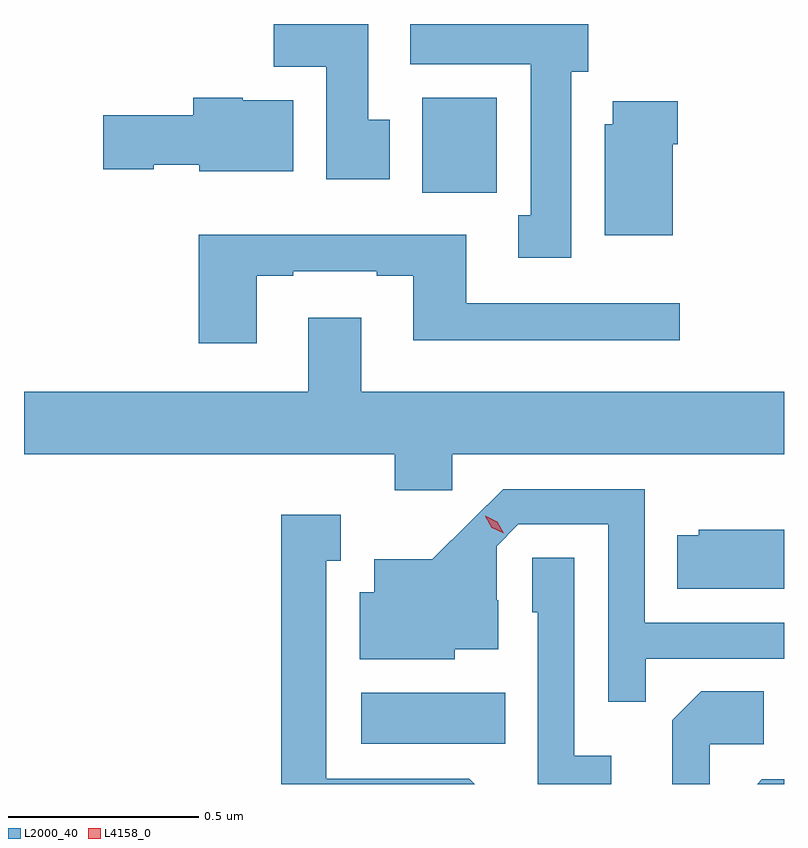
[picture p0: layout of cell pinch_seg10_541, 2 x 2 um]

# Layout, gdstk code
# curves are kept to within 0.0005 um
import gdstk
lib = gdstk.Library(unit=1e-6, precision=1e-09)
def R(c, l, rs):  # rectangles x0, y0, x1, y1
    for r in rs: c.add(gdstk.rectangle(r[:2], r[2:], *l))
def P(c, l, *ps):  # polygons
    for p in ps: c.add(gdstk.Polygon(p, *l))
L2000_40 = (2000, 40)
L4158_0 = (4158, 0)

pinch_seg10_541 = lib.new_cell('pinch_seg10_541')
R(pinch_seg10_541, L2000_40, [(215.076,1251.602,215.456,1251.736), (215.237,1253.052,215.433,1253.302)])
P(pinch_seg10_541, L2000_40, [(215.629,1253.37),(215.674,1253.37),(215.674,1253.496),(215.205,1253.496),(215.205,1253.39),(215.522,1253.39),(215.522,1252.993),(215.489,1252.993),(215.489,1252.881),(215.629,1252.881)],
  [(215.152,1253.244),(215.095,1253.244),(215.095,1253.496),(214.846,1253.496),(214.846,1253.384),(214.985,1253.384),(214.985,1253.088),(215.152,1253.088)],
  [(214.897,1253.296),(214.764,1253.296),(214.764,1253.302),(214.634,1253.302),(214.634,1253.256),(214.398,1253.256),(214.398,1253.114),(214.53,1253.114),(214.53,1253.126),(214.65,1253.126),(214.65,1253.108),(214.897,1253.108)],
  [(215.896,1253.18),(215.909,1253.18),(215.909,1253.293),(215.738,1253.293),(215.738,1253.232),(215.717,1253.232),(215.717,1252.94),(215.896,1252.94)],
  [(214.801,1252.833),(214.897,1252.833),(214.897,1252.845),(215.117,1252.845),(215.117,1252.833),(215.213,1252.833),(215.213,1252.664),(215.914,1252.664),(215.914,1252.761),(215.353,1252.761),(215.353,1252.942),(214.649,1252.942),(214.649,1252.656),(214.801,1252.656)],
  [(215.316,1252.364),(216.189,1252.364),(216.189,1252.528),(215.077,1252.528),(215.077,1252.723),(214.937,1252.723),(214.937,1252.528),(214.189,1252.528),(214.189,1252.364),(215.165,1252.364),(215.165,1252.269),(215.316,1252.269)],
  [(215.825,1251.825),(216.189,1251.825),(216.189,1251.921),(215.823,1251.921),(215.823,1252.272),(215.45,1252.272),(215.263,1252.087),(215.111,1252.087),(215.111,1252),(215.072,1252),(215.072,1251.824),(215.322,1251.824),(215.322,1251.851),(215.437,1251.851),(215.437,1251.98),(215.433,1251.98),(215.433,1252.122),(215.49,1252.179),(215.727,1252.179),(215.727,1251.712),(215.825,1251.712)],
  [(215.361,1251.51),(214.984,1251.51),(214.984,1252.083),(215.023,1252.083),(215.023,1252.204),(214.866,1252.204),(214.866,1251.496),(215.375,1251.496)],
  [(216.189,1252.165),(215.964,1252.165),(215.964,1252.15),(215.908,1252.15),(215.908,1252.01),(216.189,1252.01)],
  [(215.734,1251.571),(215.637,1251.571),(215.637,1252.091),(215.526,1252.091),(215.526,1251.948),(215.541,1251.948),(215.541,1251.496),(215.734,1251.496)],
  [(215.994,1251.6),(216.136,1251.6),(216.136,1251.74),(215.971,1251.74),(215.895,1251.664),(215.895,1251.496),(215.994,1251.496)],
  [(216.189,1251.508),(216.13,1251.508),(216.118,1251.496),(216.189,1251.496)])
P(pinch_seg10_541, L4158_0, [(215.451,1252.156),(215.42,1252.171),(215.403,1252.201),(215.403,1252.202),(215.403,1252.202),(215.434,1252.186),(215.451,1252.156),(215.451,1252.156)])

lib.write_gds('pinch_seg10_541.gds')
